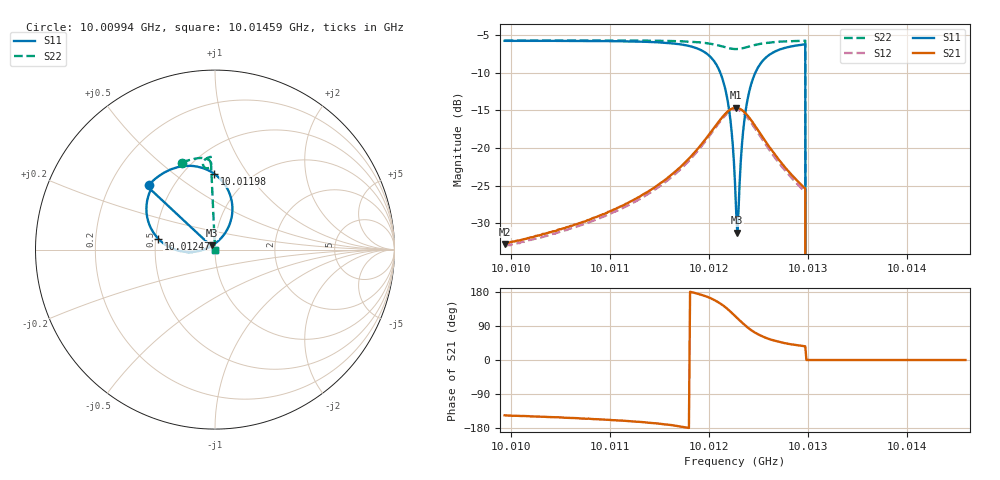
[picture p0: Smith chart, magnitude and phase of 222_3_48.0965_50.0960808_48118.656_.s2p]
#  HZ  S  RI  R  50.00
! Rohde & Schwarz Vector Network Analyzer
! Rohde-Schwarz,ZNB20-2Port,1311601062101988,3.16
! Created: UTC 12/23/2023, 3:56:52 AM
! freq[Hz]  re:S11  im:S11  re:S21  im:S21  re:S12  im:S12  re:S22  im:S22
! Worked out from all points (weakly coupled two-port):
!   401 points, 10.00994 GHz to 10.01459 GHz, reference 50 ohm
!   highest |S21| = -14.64 dB at 10.01227 GHz (marker M1); lowest = -32.7 dB at 10.00994 GHz (marker M2)
!   lowest |S11| = -31.2 dB at 10.01229 GHz (marker M3), VSWR 1.06, Z = 48.5 + j2.25 ohm
!   |S11| at or under -10 dB: 10.01212 GHz to 10.01247 GHz (352.6 kHz wide, 0.00352 % of centre); 10.01297 GHz to end of sweep
!   |S22| runs from - to -5.7 dB; largest |S21 - S12| = 0.009
!   S11 on the Smith chart (normalised r, x): 10.00994 GHz: 0.37, +0.36; 10.01198 GHz: 0.69, +0.71; 10.01247 GHz: 0.52, +0.07; 10.01459 GHz: 1.00, +0.00
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1.000994e10  -0.3695 0.3605  -0.0191 -0.0129  -0.0178 -0.0134  -0.1857 0.4843
1.0010718e10  -0.3138 0.4089  -0.029 -0.0137  -0.0272 -0.0146  -0.1356 0.501
1.0011496e10  -0.2077 0.4595  -0.0563 -0.0119  -0.0535 -0.0143  -0.0783 0.5105
1.0011764e10  -0.1261 0.4661  -0.0806 -0.00308  -0.0776 -0.00739  -0.054 0.5084
1.0011984e10  -0.00358 0.4214  -0.1157 0.0273  -0.1136 0.0205  -0.0309 0.4965
1.0012089e10  0.0693 0.3385  -0.1311 0.0663  -0.1311 0.0576  -0.0227 0.4824
1.001217e10  0.097 0.2179  -0.1275 0.1128  -0.1295 0.1045  -0.0238 0.4665
1.0012228e10  0.068 0.1113  -0.1045 0.1494  -0.1086 0.1413  -0.0321 0.4565
1.0012263e10  0.024 0.0535  -0.0818 0.1663  -0.0865 0.1588  -0.0398 0.4534
1.0012275e10  0.00577 0.0376  -0.0733 0.1704  -0.0779 0.1633  -0.0426 0.4529
1.0012286e10  -0.0147 0.0231  -0.0642 0.1735  -0.069 0.1667  -0.0455 0.4531
1.0012298e10  -0.0358 0.0114  -0.0555 0.1756  -0.0595 0.1692  -0.0483 0.4533
1.0012333e10  -0.1041 -0.0108  -0.0283 0.1767  -0.0324 0.1707  -0.056 0.4563
1.0012368e10  -0.172 -0.0119  -0.00256 0.1708  -0.00755 0.1651  -0.0619 0.4617
1.0012414e10  -0.2484 0.011  0.0244 0.1551  0.0188 0.1498  -0.0663 0.4704
1.0012472e10  -0.3155 0.0601  0.0446 0.1311  0.0384 0.1272  -0.0668 0.4812
1.0012635e10  -0.3802 0.195  0.0582 0.0771  0.0527 0.0755  -0.0551 0.5021
1.0012948e10  -0.3604 0.328  0.0444 0.0334  0.0408 0.0336  -0.026 0.5165
1.0013007e10  0 0  0 0  0 0  0 0
1.0013041e10  0 0  0 0  0 0  0 0
1.001382e10  0 0  0 0  0 0  0 0
1.0014586e10  0 0  0 0  0 0  0 0
